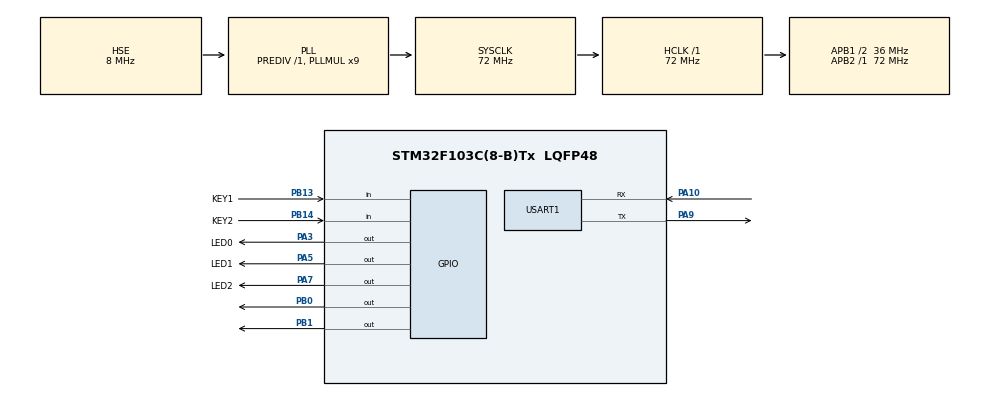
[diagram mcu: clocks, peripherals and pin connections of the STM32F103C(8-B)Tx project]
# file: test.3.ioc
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Mcu.Family=STM32F1
Mcu.Name=STM32F103C(8-B)Tx
Mcu.Package=LQFP48
NVIC.PriorityGroup=NVIC_PRIORITYGROUP_4
NVIC.USART1_IRQn=true\:0\:0\:false\:false\:true\:true\:true\:true
PA10.Mode=Asynchronous
PA10.Signal=USART1_RX
PA13.Mode=Serial_Wire
PA13.Signal=SYS_JTMS-SWDIO
PA14.Mode=Serial_Wire
PA14.Signal=SYS_JTCK-SWCLK
PA3.GPIO_Label=LED0
PA3.Signal=GPIO_Output
PA5.GPIO_Label=LED1
PA5.Signal=GPIO_Output
PA7.GPIO_Label=LED2
PA7.Signal=GPIO_Output
PA9.Mode=Asynchronous
PA9.Signal=USART1_TX
PB0.GPIO_ModeDefaultOutputPP=GPIO_MODE_OUTPUT_OD
PB0.GPIO_PuPd=GPIO_PULLUP
PB0.Signal=GPIO_Output
PB1.GPIO_ModeDefaultOutputPP=GPIO_MODE_OUTPUT_OD
PB1.GPIO_PuPd=GPIO_PULLUP
PB1.Signal=GPIO_Output
PB13.GPIO_Label=KEY1
PB13.GPIO_PuPd=GPIO_PULLUP
PB13.Signal=GPIO_Input
PB14.GPIO_Label=KEY2
PB14.GPIO_PuPd=GPIO_PULLUP
PB14.Signal=GPIO_Input
PC14-OSC32_IN.Mode=LSE-External-Oscillator
PC14-OSC32_IN.Signal=RCC_OSC32_IN
PC15-OSC32_OUT.Mode=LSE-External-Oscillator
PC15-OSC32_OUT.Signal=RCC_OSC32_OUT
PD0-OSC_IN.Mode=HSE-External-Oscillator
PD0-OSC_IN.Signal=RCC_OSC_IN
PD1-OSC_OUT.Mode=HSE-External-Oscillator
PD1-OSC_OUT.Signal=RCC_OSC_OUT
ProjectManager.HeapSize=0x200
ProjectManager.StackSize=0x400
ProjectManager.TargetToolchain=STM32CubeIDE
RCC.AHBFreq_Value=72000000
RCC.APB1CLKDivider=RCC_HCLK_DIV2
RCC.APB1Freq_Value=36000000
RCC.APB1TimFreq_Value=72000000
RCC.APB2Freq_Value=72000000
RCC.APB2TimFreq_Value=72000000
RCC.HCLKFreq_Value=72000000
RCC.PLLMUL=RCC_PLL_MUL9
RCC.PLLSourceVirtual=RCC_PLLSOURCE_HSE
RCC.SYSCLKFreq_VALUE=72000000
RCC.SYSCLKSource=RCC_SYSCLKSOURCE_PLLCLK
RCC.USBFreq_Value=72000000
USART1.VirtualMode=VM_ASYNC
board=custom

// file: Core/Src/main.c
/* USER CODE BEGIN Header */
/**
  ******************************************************************************
  * @file           : main.c
  * @brief          : Main program body
  ******************************************************************************
  * @attention
  *
  * Copyright (c) 2026 STMicroelectronics.
  * All rights reserved.
  *
  * This software is licensed under terms that can be found in the LICENSE file
  * in the root directory of this software component.
  * If no LICENSE file comes with this software, it is provided AS-IS.
  *
  ******************************************************************************
  */
/* USER CODE END Header */
#include "main.h"

#include <stdio.h>

#include <stdint.h>

#include "usart.h"
#include "gpio.h"
#include "OLED.h"

/* USER CODE BEGIN PV */
uint8_t rx_buf[6];
uint8_t rx_cnt = 0;
volatile uint8_t packet_ready  = 0;
/* USER CODE END PV */

void SystemClock_Config(void);

int main(void)
{

  /* USER CODE BEGIN 1 */
uint8_t run_flag = 1;
uint8_t dir_flag = 0;
uint8_t current_led = 0;
uint32_t last_tick = 0;
uint16_t step_time = 300;
  /* USER CODE END 1 */

  /* MCU Configuration--------------------------------------------------------*/

  /* Reset of all peripherals, Initializes the Flash interface and the Systick. */
  HAL_Init();

  /* Configure the system clock */
  SystemClock_Config();

  /* Initialize all configured peripherals */
  MX_GPIO_Init();
  MX_USART1_UART_Init();
  /* USER CODE BEGIN 2 */
HAL_UART_Receive_IT(&huart1, &rx_buf[0], 1);
OLED_Init();
  /* USER CODE END 2 */

  /* Infinite loop */
  /* USER CODE BEGIN WHILE */
  while (1)
  {
    if (run_flag && (HAL_GetTick() > last_tick + step_time))
    {
      last_tick = HAL_GetTick();
      HAL_GPIO_WritePin(LED0_GPIO_Port, LED0_Pin, GPIO_PIN_RESET);
      HAL_GPIO_WritePin(LED1_GPIO_Port, LED1_Pin, GPIO_PIN_RESET);
      HAL_GPIO_WritePin(LED2_GPIO_Port, LED2_Pin, GPIO_PIN_RESET);
      if (dir_flag == 0)
      {
        current_led++;
        if (current_led > 2 )current_led = 0;
      }else
      {
        if (current_led == 0)current_led = 2;
        else current_led--;
      }
      if (current_led == 0)
        HAL_GPIO_WritePin(LED0_GPIO_Port, LED0_Pin, GPIO_PIN_SET);
      if (current_led == 1)
        HAL_GPIO_WritePin(LED1_GPIO_Port, LED1_Pin, GPIO_PIN_SET);
      if (current_led == 2)
        HAL_GPIO_WritePin(LED2_GPIO_Port, LED2_Pin, GPIO_PIN_SET);
    }
    if (HAL_GPIO_ReadPin(KEY1_GPIO_Port, KEY1_Pin) == GPIO_PIN_RESET)
    {
      HAL_Delay(10);
      if (HAL_GPIO_ReadPin(KEY1_GPIO_Port, KEY1_Pin) == GPIO_PIN_RESET)
      {
        dir_flag = !dir_flag;
        while (HAL_GPIO_ReadPin(KEY1_GPIO_Port, KEY1_Pin) == GPIO_PIN_RESET);
      }
    }
    if (HAL_GPIO_ReadPin(KEY2_GPIO_Port, KEY2_Pin) == GPIO_PIN_RESET)
    {
      HAL_Delay(10);
      if (HAL_GPIO_ReadPin(KEY2_GPIO_Port, KEY2_Pin) == GPIO_PIN_RESET)
      {
        run_flag = !run_flag;
        while (HAL_GPIO_ReadPin(KEY2_GPIO_Port, KEY2_Pin) == GPIO_PIN_RESET);
      }
    }
    if (packet_ready == 1)
    {
      packet_ready = 0;
      if (rx_buf[0] == 0xAA)
      {
        uint8_t check_sum = (rx_buf[0] + rx_buf[1] + rx_buf[2] + rx_buf[3] + rx_buf[4]) % 256;
        if (check_sum == rx_buf[5])
        {
          run_flag = rx_buf[1];
          dir_flag = rx_buf[2];
          step_time =(rx_buf[4] <<8) |rx_buf[3];
          last_tick = HAL_GetTick();
        }
      }
    }
  char disp_buf[20];
    sprintf(disp_buf, "STATE: %s",run_flag ? "RUN" : "STOP");
    OLED_ShowString(1, 1, (uint8_t*) disp_buf);
    sprintf(disp_buf, "DIR: %s",dir_flag ? "REV" : "FWD");
    OLED_ShowString(2, 1, (uint8_t*) disp_buf);
    sprintf(disp_buf, "STEP: %dms",step_time);
    OLED_ShowString(3, 1, (uint8_t*) disp_buf);
    sprintf(disp_buf, "led: %d",current_led + 1);
    OLED_ShowString(4,1 , (uint8_t*) disp_buf);
    /* USER CODE END WHILE */

  }
}

void SystemClock_Config(void)
{
  RCC_OscInitTypeDef RCC_OscInitStruct = {0};
  RCC_ClkInitTypeDef RCC_ClkInitStruct = {0};

  /** Initializes the RCC Oscillators according to the specified parameters
  * in the RCC_OscInitTypeDef structure.
  */
  RCC_OscInitStruct.OscillatorType = RCC_OSCILLATORTYPE_HSE;
  RCC_OscInitStruct.HSEState = RCC_HSE_ON;
  RCC_OscInitStruct.HSEPredivValue = RCC_HSE_PREDIV_DIV1;
  RCC_OscInitStruct.HSIState = RCC_HSI_ON;
  RCC_OscInitStruct.PLL.PLLState = RCC_PLL_ON;
  RCC_OscInitStruct.PLL.PLLSource = RCC_PLLSOURCE_HSE;
  RCC_OscInitStruct.PLL.PLLMUL = RCC_PLL_MUL9;
  if (HAL_RCC_OscConfig(&RCC_OscInitStruct) != HAL_OK)
  {
    Error_Handler();
  }

  /** Initializes the CPU, AHB and APB buses clocks
  */
  RCC_ClkInitStruct.ClockType = RCC_CLOCKTYPE_HCLK|RCC_CLOCKTYPE_SYSCLK
                              |RCC_CLOCKTYPE_PCLK1|RCC_CLOCKTYPE_PCLK2;
  RCC_ClkInitStruct.SYSCLKSource = RCC_SYSCLKSOURCE_PLLCLK;
  RCC_ClkInitStruct.AHBCLKDivider = RCC_SYSCLK_DIV1;
  RCC_ClkInitStruct.APB1CLKDivider = RCC_HCLK_DIV2;
  RCC_ClkInitStruct.APB2CLKDivider = RCC_HCLK_DIV1;

  if (HAL_RCC_ClockConfig(&RCC_ClkInitStruct, FLASH_LATENCY_2) != HAL_OK)
  {
    Error_Handler();
  }
}

/* USER CODE BEGIN 4 */
void HAL_UART_RxCpltCallback(UART_HandleTypeDef *huart)
{
  if (huart->Instance == USART1)
  {
    rx_cnt++;
    if (rx_cnt >= 6)
    {
      rx_cnt = 0;
      packet_ready = 1;
    }
    HAL_UART_Receive_IT(&huart1,&rx_buf[rx_cnt], 1);
  }
}
/* USER CODE END 4 */

void Error_Handler(void)
{
  __disable_irq();
  while (1)
  {
  }
}
